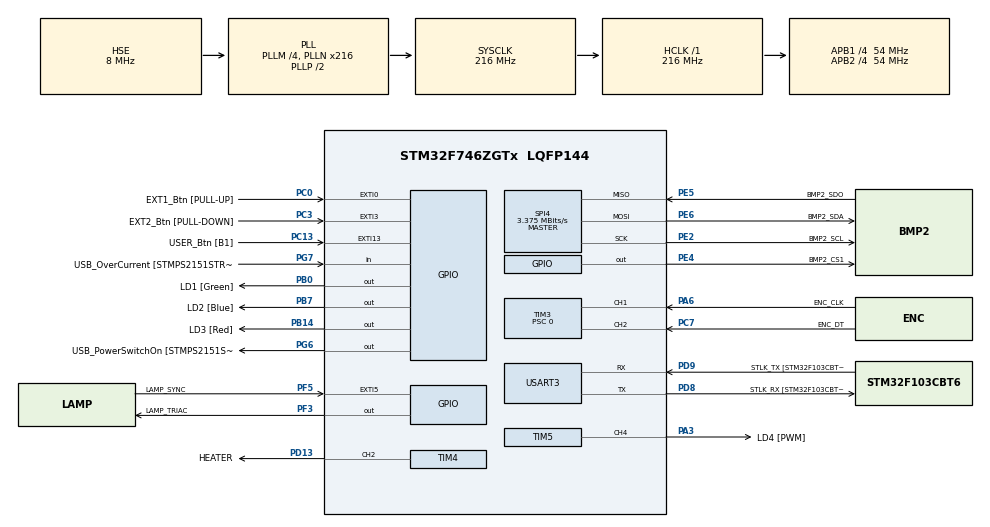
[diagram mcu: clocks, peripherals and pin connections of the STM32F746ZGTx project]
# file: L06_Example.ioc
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Mcu.Family=STM32F7
Mcu.Name=STM32F746ZGTx
Mcu.Package=LQFP144
NVIC.EXTI15_10_IRQn=true\:0\:0\:false\:false\:true\:true\:true\:true
NVIC.EXTI9_5_IRQn=true\:0\:0\:false\:false\:true\:true\:true\:true
NVIC.PriorityGroup=NVIC_PRIORITYGROUP_4
NVIC.USART3_IRQn=true\:0\:0\:false\:false\:true\:true\:true\:true
PA1.GPIO_Label=RMII_REF_CLK [LAN8742A-CZ-TR_REFCLK0]
PA1.Signal=ETH_REF_CLK
PA10.GPIO_Label=USB_ID
PA10.Signal=USB_OTG_FS_ID
PA11.GPIO_Label=USB_DM
PA11.Signal=USB_OTG_FS_DM
PA12.GPIO_Label=USB_DP
PA12.Signal=USB_OTG_FS_DP
PA13.GPIO_Label=TMS
PA13.Mode=Serial_Wire
PA13.Signal=SYS_JTMS-SWDIO
PA14.GPIO_Label=TCK
PA14.Mode=Serial_Wire
PA14.Signal=SYS_JTCK-SWCLK
PA2.GPIO_Label=RMII_MDIO [LAN8742A-CZ-TR_MDIO]
PA2.Signal=ETH_MDIO
PA3.GPIO_Label=LD4 [PWM]
PA3.Signal=S_TIM5_CH4
PA5.GPIO_Label=LED_RGB_R [Red channel]
PA5.Signal=S_TIM2_CH1_ETR
PA6.GPIO_Label=ENC_CLK
PA6.Signal=S_TIM3_CH1
PA7.GPIO_Label=RMII_CRS_DV [LAN8742A-CZ-TR_CRS_DV]
PA7.Signal=ETH_CRS_DV
PA8.GPIO_Label=USB_SOF [TP1]
PA8.Signal=USB_OTG_FS_SOF
PA9.GPIO_Label=USB_VBUS
PA9.Signal=USB_OTG_FS_VBUS
PB0.GPIO_Label=LD1 [Green]
PB0.Signal=GPIO_Output
PB10.GPIO_Label=LED_RGB_G [Green channel]
PB10.Signal=S_TIM2_CH3
PB11.GPIO_Label=LED_RGB_B [Blue channel]
PB11.Signal=S_TIM2_CH4
PB13.GPIO_Label=RMII_TXD1 [LAN8742A-CZ-TR_TXD1]
PB13.Signal=ETH_TXD1
PB14.GPIO_Label=LD3 [Red]
PB14.Signal=GPIO_Output
PB3.GPIO_Label=SW0
PB3.Signal=SYS_JTDO-SWO
PB7.GPIO_Label=LD2 [Blue]
PB7.Signal=GPIO_Output
PB8.GPIO_Label=BH1750_SCL
PB8.Signal=I2C1_SCL
PB9.GPIO_Label=BH1750_SDA
PB9.Signal=I2C1_SDA
PC0.GPIO_Label=EXT1_Btn [PULL-UP]
PC0.GPIO_ModeDefaultEXTI=GPIO_MODE_IT_FALLING
PC0.GPIO_PuPd=GPIO_PULLUP
PC0.Signal=GPXTI0
PC1.GPIO_Label=RMII_MDC [LAN8742A-CZ-TR_MDC]
PC1.Signal=ETH_MDC
PC13.GPIO_Label=USER_Btn [B1]
PC13.Signal=GPXTI13
PC14/OSC32_IN.Mode=LSE-External-Oscillator
PC14/OSC32_IN.Signal=RCC_OSC32_IN
PC15/OSC32_OUT.Mode=LSE-External-Oscillator
PC15/OSC32_OUT.Signal=RCC_OSC32_OUT
PC3.GPIO_Label=EXT2_Btn [PULL-DOWN]
PC3.GPIO_PuPd=GPIO_PULLDOWN
PC3.Signal=GPXTI3
PC4.GPIO_Label=RMII_RXD0 [LAN8742A-CZ-TR_RXD0]
PC4.Signal=ETH_RXD0
PC5.GPIO_Label=RMII_RXD1 [LAN8742A-CZ-TR_RXD1]
PC5.Signal=ETH_RXD1
PC7.GPIO_Label=ENC_DT
PC7.Signal=S_TIM3_CH2
PD13.GPIO_Label=HEATER
PD13.Signal=S_TIM4_CH2
PD8.GPIO_Label=STLK_RX [STM32F103CBT6_PA3]
PD8.Mode=Asynchronous
PD8.Signal=USART3_TX
PD9.GPIO_Label=STLK_TX [STM32F103CBT6_PA2]
PD9.Mode=Asynchronous
PD9.Signal=USART3_RX
PE2.GPIO_Label=BMP2_SCL
PE2.Mode=Full_Duplex_Master
PE2.Signal=SPI4_SCK
PE4.GPIO_Label=BMP2_CS1
PE4.Signal=GPIO_Output
PE5.GPIO_Label=BMP2_SDO
PE5.Mode=Full_Duplex_Master
PE5.Signal=SPI4_MISO
PE6.GPIO_Label=BMP2_SDA
PE6.Mode=Full_Duplex_Master
PE6.Signal=SPI4_MOSI
PF3.GPIO_Label=LAMP_TRIAC
PF3.GPIO_Speed=GPIO_SPEED_FREQ_HIGH
PF3.Signal=GPIO_Output
PF5.GPIO_Label=LAMP_SYNC
PF5.Signal=GPXTI5
PG11.GPIO_Label=RMII_TX_EN [LAN8742A-CZ-TR_TXEN]
PG11.Signal=ETH_TX_EN
PG13.GPIO_Label=RMII_TXD0 [LAN8742A-CZ-TR_TXD0]
PG13.Signal=ETH_TXD0
PG6.GPIO_Label=USB_PowerSwitchOn [STMPS2151STR_EN]
PG6.Signal=GPIO_Output
PG7.GPIO_Label=USB_OverCurrent [STMPS2151STR_FAULT]
PG7.Signal=GPIO_Input
PH0/OSC_IN.GPIO_Label=MCO [STM32F103CBT6_PA8]
PH0/OSC_IN.Mode=HSE-External-Clock-Source
PH0/OSC_IN.Signal=RCC_OSC_IN
PH1/OSC_OUT.Mode=HSE-External-Clock-Source
PH1/OSC_OUT.Signal=RCC_OSC_OUT
ProjectManager.HeapSize=0x200
ProjectManager.StackSize=0x400
ProjectManager.TargetToolchain=STM32CubeIDE
RCC.48MHZClocksFreq_Value=24000000
RCC.AHBFreq_Value=216000000
RCC.APB1CLKDivider=RCC_HCLK_DIV4
RCC.APB1Freq_Value=54000000
RCC.APB1TimFreq_Value=108000000
RCC.APB2CLKDivider=RCC_HCLK_DIV4
RCC.APB2Freq_Value=54000000
RCC.APB2TimFreq_Value=108000000
RCC.CortexFreq_Value=216000000
RCC.HCLKFreq_Value=216000000
RCC.HSE_VALUE=8000000
RCC.HSI_VALUE=16000000
RCC.PLLM=4
RCC.PLLMUL=RCC_PLL_MUL9
RCC.PLLN=216
RCC.PLLQ=3
RCC.PLLSourceVirtual=RCC_PLLSOURCE_HSE
RCC.PRESCALERUSB=RCC_USBCLKSOURCE_PLL_DIV1_5
RCC.SYSCLKFreq_VALUE=216000000
RCC.SYSCLKSource=RCC_SYSCLKSOURCE_PLLCLK
RCC.SYSCLKSourceVirtual=RCC_SYSCLKSOURCE_PLLCLK
RCC.USART3CLockSelection=RCC_USART3CLKSOURCE_SYSCLK
RCC.USBFreq_Value=144000000
RCC.VCOOutputFreq_Value=432000000
SH.S_TIM2_CH1_ETR.0=TIM2_CH1
SH.S_TIM2_CH3.0=TIM2_CH3
SH.S_TIM2_CH4.0=TIM2_CH4
SH.S_TIM3_CH1.0=TIM3_CH1,Encoder_Interface
SH.S_TIM3_CH2.0=TIM3_CH2,Encoder_Interface
SH.S_TIM4_CH2.0=TIM4_CH2,PWM Generation2 CH2
SH.S_TIM5_CH4.0=TIM5_CH4,PWM Generation4 CH4
SPI4.BaudRatePrescaler=SPI_BAUDRATEPRESCALER_16
SPI4.CLKPhase=SPI_PHASE_2EDGE
SPI4.CLKPolarity=SPI_POLARITY_HIGH
SPI4.CalculateBaudRate=3.375 MBits/s
SPI4.DataSize=SPI_DATASIZE_8BIT
SPI4.Direction=SPI_DIRECTION_2LINES
SPI4.Mode=SPI_MODE_MASTER
SPI4.VirtualType=VM_MASTER
TIM3.EncoderMode=TIM_ENCODERMODE_TI12
TIM3.IC1Filter=15
TIM3.IC2Filter=15
TIM3.Period=400
TIM3.Prescaler=0
TIM4.Channel-PWM\ Generation2\ CH2=TIM_CHANNEL_2
TIM4.Period=999
TIM4.Prescaler=107
TIM5.Channel-PWM\ Generation4\ CH4=TIM_CHANNEL_4
TIM5.Period=999
TIM5.Prescaler=107
USART3.VirtualMode-Asynchronous=VM_ASYNC
VP_TIM4_VS_ClockSourceINT.Mode=Internal
VP_TIM5_VS_ClockSourceINT.Mode=Internal
board=NUCLEO-F746ZG

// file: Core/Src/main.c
/* USER CODE BEGIN Header */
/**
  ******************************************************************************
  * @file           : main.c
  * @brief          : Main program body
  ******************************************************************************
  * @attention
  *
  * Copyright (c) 2022 STMicroelectronics.
  * All rights reserved.
  *
  * This software is licensed under terms that can be found in the LICENSE file
  * in the root directory of this software component.
  * If no LICENSE file comes with this software, it is provided AS-IS.
  *
  ******************************************************************************
  */
/* USER CODE END Header */
#include "main.h"
#include "spi.h"
#include "tim.h"
#include "usart.h"
#include "gpio.h"

/* USER CODE BEGIN Includes */
#include <stdio.h>
#include <string.h>
#include "led_config.h"
#include "btn_config.h"
#include "heater_config.h"
#include "bmp2_config.h"
/* USER CODE END Includes */

/* USER CODE BEGIN PV */
float duty = 100.0f;  // [%]
float temp = 0.0f;    // [degC]
unsigned char pwm_duty_msg[] = "000";
/* USER CODE END PV */

void SystemClock_Config(void);

/* USER CODE BEGIN 0 */

/**
  * @brief  Rx Transfer completed callback.
  * @param  huart UART handle.
  * @retval None
  */
void HAL_UART_RxCpltCallback(UART_HandleTypeDef *huart)
{
  if(huart == &huart3)
  {
	int pwm_duty = strtol(pwm_duty_msg, NULL, 10);
	HEATER_PWM_WriteDuty(&hheater, pwm_duty);
	HAL_UART_Receive_IT(&huart3, pwm_duty_msg, strlen(pwm_duty_msg));
  }
}

/* USER CODE END 0 */

int main(void)
{

  /* MCU Configuration--------------------------------------------------------*/

  /* Reset of all peripherals, Initializes the Flash interface and the Systick. */
  HAL_Init();

  /* Configure the system clock */
  SystemClock_Config();

  /* Initialize all configured peripherals */
  MX_GPIO_Init();
  MX_USART3_UART_Init();
  MX_TIM3_Init();
  MX_TIM4_Init();
  MX_TIM5_Init();
  MX_SPI4_Init();
  /* USER CODE BEGIN 2 */
  BMP2_Init(&bmp2dev_1);
  HEATER_PWM_Init(&hheater);
  HAL_UART_Receive_IT(&huart3, pwm_duty_msg, strlen(pwm_duty_msg));
  /* USER CODE END 2 */

  /* Infinite loop */
  /* USER CODE BEGIN WHILE */
  while (1)
  {
    temp = BMP2_ReadTemperature_degC(&bmp2dev_1);
    char msg[32] = { 0, };
    int msg_len = sprintf(msg, "%d, %d.02%d degC\r\n", (int)HEATER_PWM_ReadDuty(&hheater), (int)temp, (int)(100.0f*temp)%100);
    HAL_UART_Transmit(&huart3, (uint8_t*)msg, msg_len, 100);
    HAL_Delay(1000);
    /* USER CODE END WHILE */

  }
}

void SystemClock_Config(void)
{
  RCC_OscInitTypeDef RCC_OscInitStruct = {0};
  RCC_ClkInitTypeDef RCC_ClkInitStruct = {0};

  /** Configure LSE Drive Capability
  */
  HAL_PWR_EnableBkUpAccess();

  /** Configure the main internal regulator output voltage
  */
  __HAL_RCC_PWR_CLK_ENABLE();
  __HAL_PWR_VOLTAGESCALING_CONFIG(PWR_REGULATOR_VOLTAGE_SCALE1);

  /** Initializes the RCC Oscillators according to the specified parameters
  * in the RCC_OscInitTypeDef structure.
  */
  RCC_OscInitStruct.OscillatorType = RCC_OSCILLATORTYPE_HSE;
  RCC_OscInitStruct.HSEState = RCC_HSE_BYPASS;
  RCC_OscInitStruct.PLL.PLLState = RCC_PLL_ON;
  RCC_OscInitStruct.PLL.PLLSource = RCC_PLLSOURCE_HSE;
  RCC_OscInitStruct.PLL.PLLM = 4;
  RCC_OscInitStruct.PLL.PLLN = 216;
  RCC_OscInitStruct.PLL.PLLP = RCC_PLLP_DIV2;
  RCC_OscInitStruct.PLL.PLLQ = 3;
  if (HAL_RCC_OscConfig(&RCC_OscInitStruct) != HAL_OK)
  {
    Error_Handler();
  }

  /** Activate the Over-Drive mode
  */
  if (HAL_PWREx_EnableOverDrive() != HAL_OK)
  {
    Error_Handler();
  }

  /** Initializes the CPU, AHB and APB buses clocks
  */
  RCC_ClkInitStruct.ClockType = RCC_CLOCKTYPE_HCLK|RCC_CLOCKTYPE_SYSCLK
                              |RCC_CLOCKTYPE_PCLK1|RCC_CLOCKTYPE_PCLK2;
  RCC_ClkInitStruct.SYSCLKSource = RCC_SYSCLKSOURCE_PLLCLK;
  RCC_ClkInitStruct.AHBCLKDivider = RCC_SYSCLK_DIV1;
  RCC_ClkInitStruct.APB1CLKDivider = RCC_HCLK_DIV4;
  RCC_ClkInitStruct.APB2CLKDivider = RCC_HCLK_DIV4;

  if (HAL_RCC_ClockConfig(&RCC_ClkInitStruct, FLASH_LATENCY_7) != HAL_OK)
  {
    Error_Handler();
  }
}

void Error_Handler(void)
{
  __disable_irq();
  while (1)
  {
  }
}
